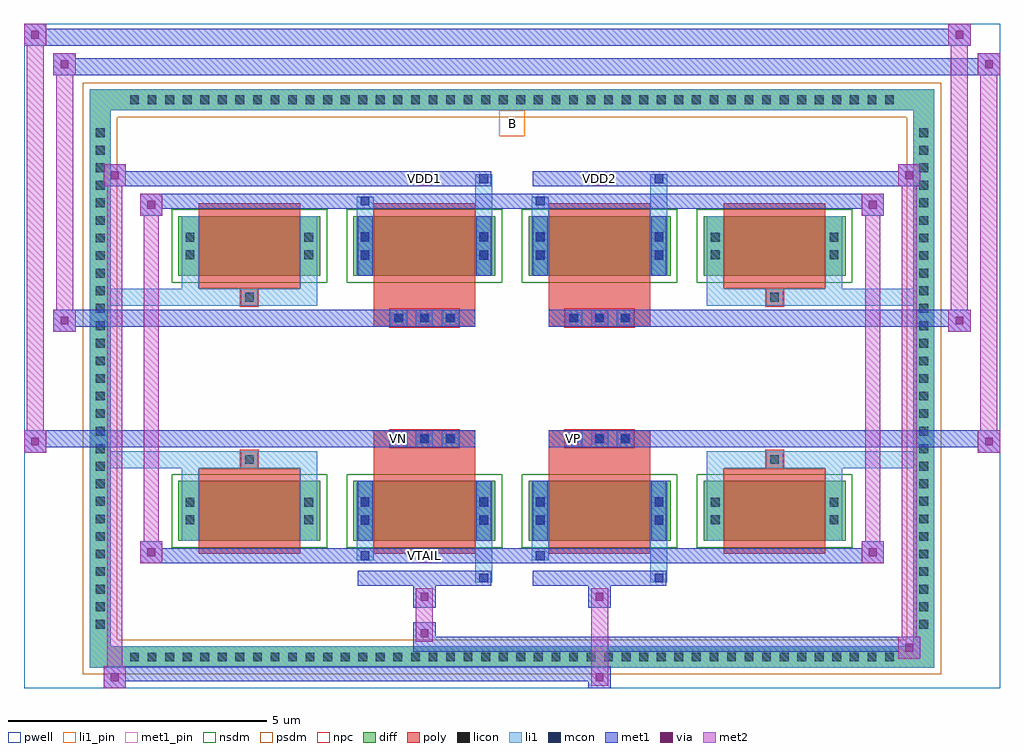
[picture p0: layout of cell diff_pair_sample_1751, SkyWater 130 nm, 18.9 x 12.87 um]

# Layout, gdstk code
import gdstk
lib = gdstk.Library(unit=1e-6, precision=5e-09)
def R(c, l, rs):  # rectangles x0, y0, x1, y1
    for r in rs: c.add(gdstk.rectangle(r[:2], r[2:], *l))
def A(c, l, x, y, w, h, nx, ny, dx, dy):  # array of equal rectangles
    R(c, l, [(x+i*dx, y+j*dy, x+i*dx+w, y+j*dy+h) for i in range(nx) for j in range(ny)])
def P(c, l, *ps):  # polygons
    for p in ps: c.add(gdstk.Polygon(p, *l))
pwell = (64, 44)
diff = (65, 20)
poly = (66, 20)
licon = (66, 44)
li1_pin = (67, 16)
li1 = (67, 20)
mcon = (67, 44)
met1_pin = (68, 16)
met1 = (68, 20)
via = (68, 44)
met2 = (69, 20)
nsdm = (93, 44)
psdm = (94, 20)
npc = (95, 20)

diff_pair_sample_1751 = lib.new_cell('diff_pair_sample_1751')
R(diff_pair_sample_1751, pwell, [(-9.45,-6,9.45,6.87), (-6.77,-4.19,-0.01,-0.805), (0.01,-4.19,6.77,-0.805), (-6.77,0.805,-0.01,4.19), (0.01,0.805,6.77,4.19)])
A(diff_pair_sample_1751, diff, -7.515, -5.6, 0.41, 0.41, 44, 2, 0.34, 10.79)
A(diff_pair_sample_1751, diff, -8.18, -4.965, 0.41, 0.41, 1, 29, 0, 0.34)
A(diff_pair_sample_1751, diff, 7.77, -4.965, 0.41, 0.41, 1, 29, 0, 0.34)
A(diff_pair_sample_1751, diff, -6.46, -3.145, 2.75, 1.16, 4, 2, 3.39, 5.13)
R(diff_pair_sample_1751, diff, [(-7.515,-5.6,7.515,-5.19), (-8.18,-4.965,-7.77,4.965), (7.77,-4.965,8.18,4.965), (-7.515,5.19,7.515,5.6)])
P(diff_pair_sample_1751, diff, [(8.18,5.6),(-8.18,5.6),(-8.18,-5.19),(-7.77,-5.19),(-7.77,5.19),(7.77,5.19),(7.77,-5.19),(-7.77,-5.19),(-8.18,-5.19),(-8.18,-5.6),(8.18,-5.6)])
A(diff_pair_sample_1751, poly, -6.07, -3.395, 1.97, 1.66, 4, 2, 3.39, 5.13)
A(diff_pair_sample_1751, poly, -2.36, -1.335, 0.33, 0.33, 3, 2, 0.5, 2.34)
A(diff_pair_sample_1751, poly, 1.03, -1.335, 0.33, 0.33, 3, 2, 0.5, 2.34)
R(diff_pair_sample_1751, poly, [(-5.25,-1.735,-4.92,-1.405), (-5.25,-1.735,-4.92,-1.405), (-2.68,-1.735,-0.71,-1.335), (0.71,-1.735,2.68,-1.335), (4.92,-1.735,5.25,-1.405), (4.92,-1.735,5.25,-1.405), (-2.68,-1.335,-0.71,-1.005), (0.71,-1.335,2.68,-1.005), (-2.68,1.005,-0.71,1.335), (0.71,1.005,2.68,1.335), (-2.68,1.335,-0.71,1.735), (0.71,1.335,2.68,1.735), (-5.25,1.405,-4.92,1.735), (-5.25,1.405,-4.92,1.735), (4.92,1.405,5.25,1.735), (4.92,1.405,5.25,1.735)])
A(diff_pair_sample_1751, licon, -7.395, -5.48, 0.17, 0.17, 44, 2, 0.34, 10.79)
A(diff_pair_sample_1751, licon, -8.06, -4.845, 0.17, 0.17, 1, 29, 0, 0.34)
A(diff_pair_sample_1751, licon, 7.89, -4.845, 0.17, 0.17, 1, 29, 0, 0.34)
A(diff_pair_sample_1751, licon, -2.28, -1.255, 0.17, 0.17, 3, 2, 0.5, 2.34)
A(diff_pair_sample_1751, licon, 1.11, -1.255, 0.17, 0.17, 3, 2, 0.5, 2.34)
R(diff_pair_sample_1751, licon, [(-6.32,-2.82,-6.15,-2.65), (-4.02,-2.82,-3.85,-2.65), (-2.93,-2.82,-2.76,-2.65), (-0.63,-2.82,-0.46,-2.65), (0.46,-2.82,0.63,-2.65), (2.76,-2.82,2.93,-2.65), (3.85,-2.82,4.02,-2.65), (6.15,-2.82,6.32,-2.65), (-6.32,-2.48,-6.15,-2.31), (-4.02,-2.48,-3.85,-2.31), (-2.93,-2.48,-2.76,-2.31), (-0.63,-2.48,-0.46,-2.31), (0.46,-2.48,0.63,-2.31), (2.76,-2.48,2.93,-2.31), (3.85,-2.48,4.02,-2.31), (6.15,-2.48,6.32,-2.31), (-5.17,-1.655,-5,-1.485), (5,-1.655,5.17,-1.485), (-5.17,1.485,-5,1.655), (5,1.485,5.17,1.655), (-6.32,2.31,-6.15,2.48), (-4.02,2.31,-3.85,2.48), (-2.93,2.31,-2.76,2.48), (-0.63,2.31,-0.46,2.48), (0.46,2.31,0.63,2.48), (2.76,2.31,2.93,2.48), (3.85,2.31,4.02,2.48), (6.15,2.31,6.32,2.48), (-6.32,2.65,-6.15,2.82), (-4.02,2.65,-3.85,2.82), (-2.93,2.65,-2.76,2.82), (-0.63,2.65,-0.46,2.82), (0.46,2.65,0.63,2.82), (2.76,2.65,2.93,2.82), (3.85,2.65,4.02,2.82), (6.15,2.65,6.32,2.82)])
R(diff_pair_sample_1751, li1_pin, [(-0.25,4.69,0.25,5.19)])
A(diff_pair_sample_1751, li1, -7.475, -5.56, 0.33, 0.33, 44, 2, 0.34, 10.79)
A(diff_pair_sample_1751, li1, -8.14, -4.925, 0.33, 0.33, 1, 29, 0, 0.34)
A(diff_pair_sample_1751, li1, 7.81, -4.925, 0.33, 0.33, 1, 29, 0, 0.34)
A(diff_pair_sample_1751, li1, -2.36, -1.335, 0.33, 0.33, 3, 2, 0.5, 2.34)
A(diff_pair_sample_1751, li1, 1.03, -1.335, 0.33, 0.33, 3, 2, 0.5, 2.34)
R(diff_pair_sample_1751, li1, [(-8.18,-5.6,-7.77,-5.19), (-8.18,-5.6,-7.77,-5.19), (-7.77,-5.6,7.77,-5.19), (7.77,-5.6,8.18,-5.19), (7.77,-5.6,8.18,-5.19), (-8.18,-5.19,-7.77,5.19), (7.77,-5.19,8.18,5.19), (-0.71,-3.95,-0.38,-3.145), (-0.63,-3.95,-0.46,-3.78), (2.68,-3.95,3.01,-3.145), (2.76,-3.95,2.93,-3.78), (-3.01,-3.52,-2.68,-3.145), (-2.93,-3.52,-2.76,-3.35), (0.38,-3.52,0.71,-3.145), (0.46,-3.52,0.63,-3.35), (-6.4,-3.145,-6.07,-1.985), (-4.1,-3.145,-3.77,-1.985), (-3.01,-3.145,-2.68,-1.985), (-0.71,-3.145,-0.38,-1.985), (0.38,-3.145,0.71,-1.985), (2.68,-3.145,3.01,-1.985), (3.77,-3.145,4.1,-1.985), (6.07,-3.145,6.4,-1.985), (-6.4,-2.9,-6.07,-2.57), (-4.1,-2.9,-3.77,-2.57), (-3.01,-2.9,-2.68,-2.57), (-0.71,-2.9,-0.38,-2.57), (0.38,-2.9,0.71,-2.57), (2.68,-2.9,3.01,-2.57), (3.77,-2.9,4.1,-2.57), (6.07,-2.9,6.4,-2.57), (-2.93,-2.83,-2.76,-2.66), (-2.93,-2.83,-2.76,-2.3), (-0.63,-2.83,-0.46,-2.66), (-0.63,-2.83,-0.46,-2.3), (0.46,-2.83,0.63,-2.66), (0.46,-2.83,0.63,-2.3), (2.76,-2.83,2.93,-2.66), (2.76,-2.83,2.93,-2.3), (-6.4,-2.56,-6.07,-2.23), (-4.1,-2.56,-3.77,-2.23), (-3.01,-2.56,-2.68,-2.23), (-0.71,-2.56,-0.38,-2.23), (0.38,-2.56,0.71,-2.23), (2.68,-2.56,3.01,-2.23), (3.77,-2.56,4.1,-2.23), (6.07,-2.56,6.4,-2.23), (-2.93,-2.47,-2.76,-2.3), (-0.63,-2.47,-0.46,-2.3), (0.46,-2.47,0.63,-2.3), (2.76,-2.47,2.93,-2.3), (-6.4,-1.985,-6.07,-1.405), (-4.1,-1.985,-3.77,-1.405), (3.77,-1.985,4.1,-1.405), (6.07,-1.985,6.4,-1.405), (-8.18,-1.735,-5.25,-1.405), (-6.4,-1.735,-5.25,-1.405), (-5.25,-1.735,-4.92,-1.405), (-4.92,-1.735,-3.77,-1.405), (3.77,-1.735,4.92,-1.405), (4.92,-1.735,5.25,-1.405), (4.92,-1.735,8.18,-1.405), (5.25,-1.735,6.4,-1.405), (-8.18,1.405,-5.25,1.735), (-6.4,1.405,-5.25,1.735), (-6.4,1.405,-6.07,1.985), (-5.25,1.405,-4.92,1.735), (-4.92,1.405,-3.77,1.735), (-4.1,1.405,-3.77,1.985), (3.77,1.405,4.92,1.735), (3.77,1.405,4.1,1.985), (4.92,1.405,5.25,1.735), (4.92,1.405,8.18,1.735), (5.25,1.405,6.4,1.735), (6.07,1.405,6.4,1.985), (-6.4,1.985,-6.07,3.145), (-4.1,1.985,-3.77,3.145), (-3.01,1.985,-2.68,3.145), (-0.71,1.985,-0.38,3.145), (0.38,1.985,0.71,3.145), (2.68,1.985,3.01,3.145), (3.77,1.985,4.1,3.145), (6.07,1.985,6.4,3.145), (-6.4,2.23,-6.07,2.56), (-4.1,2.23,-3.77,2.56), (-3.01,2.23,-2.68,2.56), (-0.71,2.23,-0.38,2.56), (0.38,2.23,0.71,2.56), (2.68,2.23,3.01,2.56), (3.77,2.23,4.1,2.56), (6.07,2.23,6.4,2.56), (-2.93,2.3,-2.76,2.47), (-2.93,2.3,-2.76,2.83), (-0.63,2.3,-0.46,2.47), (-0.63,2.3,-0.46,2.83), (0.46,2.3,0.63,2.47), (0.46,2.3,0.63,2.83), (2.76,2.3,2.93,2.47), (2.76,2.3,2.93,2.83), (-6.4,2.57,-6.07,2.9), (-4.1,2.57,-3.77,2.9), (-3.01,2.57,-2.68,2.9), (-0.71,2.57,-0.38,2.9), (0.38,2.57,0.71,2.9), (2.68,2.57,3.01,2.9), (3.77,2.57,4.1,2.9), (6.07,2.57,6.4,2.9), (-2.93,2.66,-2.76,2.83), (-0.63,2.66,-0.46,2.83), (0.46,2.66,0.63,2.83), (2.76,2.66,2.93,2.83), (-3.01,3.145,-2.68,3.52), (-0.71,3.145,-0.38,3.95), (0.38,3.145,0.71,3.52), (2.68,3.145,3.01,3.95), (-2.93,3.35,-2.76,3.52), (0.46,3.35,0.63,3.52), (-0.63,3.78,-0.46,3.95), (2.76,3.78,2.93,3.95), (-8.18,5.19,-7.77,5.6), (-8.18,5.19,-7.77,5.6), (-7.77,5.19,7.77,5.6), (7.77,5.19,8.18,5.6), (7.77,5.19,8.18,5.6)])
A(diff_pair_sample_1751, mcon, -2.28, -1.255, 0.17, 0.17, 3, 2, 0.5, 2.34)
A(diff_pair_sample_1751, mcon, 1.11, -1.255, 0.17, 0.17, 3, 2, 0.5, 2.34)
R(diff_pair_sample_1751, mcon, [(-0.63,-3.95,-0.46,-3.78), (2.76,-3.95,2.93,-3.78), (-2.93,-3.52,-2.76,-3.35), (0.46,-3.52,0.63,-3.35), (-2.93,-2.83,-2.76,-2.66), (-0.63,-2.83,-0.46,-2.66), (0.46,-2.83,0.63,-2.66), (2.76,-2.83,2.93,-2.66), (-2.93,-2.47,-2.76,-2.3), (-0.63,-2.47,-0.46,-2.3), (0.46,-2.47,0.63,-2.3), (2.76,-2.47,2.93,-2.3), (-2.93,2.3,-2.76,2.47), (-0.63,2.3,-0.46,2.47), (0.46,2.3,0.63,2.47), (2.76,2.3,2.93,2.47), (-2.93,2.66,-2.76,2.83), (-0.63,2.66,-0.46,2.83), (0.46,2.66,0.63,2.83), (2.76,2.66,2.93,2.83), (-2.93,3.35,-2.76,3.52), (0.46,3.35,0.63,3.52), (-0.63,3.78,-0.46,3.95), (2.76,3.78,2.93,3.95)])
R(diff_pair_sample_1751, met1_pin, [(-1.83,-3.56,-1.56,-3.29), (-2.33,-1.295,-2.06,-1.025), (1.06,-1.295,1.33,-1.025), (-1.83,3.74,-1.56,4.01), (1.56,3.74,1.83,4.01)])
A(diff_pair_sample_1751, met1, -2.34, -1.315, 0.29, 0.29, 3, 2, 0.5, 2.34)
A(diff_pair_sample_1751, met1, 1.05, -1.315, 0.29, 0.29, 3, 2, 0.5, 2.34)
R(diff_pair_sample_1751, met1, [(-7.91,-6,-7.48,-5.57), (1.48,-6,1.91,-5.57), (-7.91,-5.86,1.91,-5.57), (7.48,-5.43,7.91,-5), (-1.91,-5.29,7.91,-5), (-1.91,-5.15,-1.48,-4.72), (-1.91,-4.44,-1.48,-4.01), (1.48,-4.44,1.91,-4.01), (-2.99,-4.01,-0.4,-3.72), (-0.69,-4.01,-0.4,-3.72), (0.4,-4.01,2.99,-3.72), (2.7,-4.01,2.99,-3.72), (-7.2,-3.58,-6.77,-3.15), (-7.2,-3.58,-2.99,-3.29), (-2.99,-3.58,-2.7,-3.29), (-2.99,-3.58,-0.4,-3.29), (-0.4,-3.58,0.4,-3.29), (0.4,-3.58,0.69,-3.29), (0.4,-3.58,2.99,-3.29), (2.99,-3.58,7.2,-3.29), (6.77,-3.58,7.2,-3.15), (-2.99,-3.145,-2.7,-1.985), (-0.69,-3.145,-0.4,-1.985), (0.4,-3.145,0.69,-1.985), (2.7,-3.145,2.99,-1.985), (-2.99,-2.89,-2.7,-2.6), (-0.69,-2.89,-0.4,-2.6), (0.4,-2.89,0.69,-2.6), (2.7,-2.89,2.99,-2.6), (-2.99,-2.53,-2.7,-2.24), (-0.69,-2.53,-0.4,-2.24), (0.4,-2.53,0.69,-2.24), (2.7,-2.53,2.99,-2.24), (-9.45,-1.435,-9.02,-1.005), (9.02,-1.435,9.45,-1.005), (-9.45,-1.335,-0.71,-1.005), (-2.68,-1.335,-0.71,-1.005), (0.71,-1.335,2.68,-1.005), (0.71,-1.335,9.45,-1.005), (-8.88,0.905,-8.45,1.335), (8.45,0.905,8.88,1.335), (-8.88,1.005,-2.68,1.335), (-2.68,1.005,-0.71,1.335), (0.71,1.005,2.68,1.335), (2.68,1.005,8.88,1.335), (-2.99,1.985,-2.7,3.145), (-0.69,1.985,-0.4,3.145), (0.4,1.985,0.69,3.145), (2.7,1.985,2.99,3.145), (-2.99,2.24,-2.7,2.53), (-0.69,2.24,-0.4,2.53), (0.4,2.24,0.69,2.53), (2.7,2.24,2.99,2.53), (-2.99,2.6,-2.7,2.89), (-0.69,2.6,-0.4,2.89), (0.4,2.6,0.69,2.89), (2.7,2.6,2.99,2.89), (-7.2,3.15,-6.77,3.58), (6.77,3.15,7.2,3.58), (-7.2,3.29,-2.99,3.58), (-2.99,3.29,-2.7,3.58), (-2.99,3.29,-0.4,3.58), (-0.4,3.29,0.4,3.58), (0.4,3.29,0.69,3.58), (0.4,3.29,2.99,3.58), (2.99,3.29,7.2,3.58), (-7.91,3.72,-7.48,4.15), (-7.91,3.72,-2.99,4.01), (-2.99,3.72,-0.4,4.01), (-0.69,3.72,-0.4,4.01), (0.4,3.72,2.99,4.01), (2.7,3.72,2.99,4.01), (2.99,3.72,7.91,4.01), (7.48,3.72,7.91,4.15), (-8.88,5.87,-8.45,6.3), (-8.88,5.87,-6.77,6.2), (-6.77,5.87,6.77,6.2), (6.77,5.87,9.45,6.2), (9.02,5.87,9.45,6.3), (-9.45,6.44,-9.02,6.87), (-9.45,6.44,-6.77,6.77), (-6.77,6.44,6.77,6.77), (6.77,6.44,8.88,6.77), (8.45,6.44,8.88,6.87)])
R(diff_pair_sample_1751, via, [(-7.77,-5.86,-7.62,-5.71), (1.62,-5.86,1.77,-5.71), (7.62,-5.29,7.77,-5.14), (-1.77,-5.01,-1.62,-4.86), (-1.77,-4.3,-1.62,-4.15), (1.62,-4.3,1.77,-4.15), (-7.06,-3.44,-6.91,-3.29), (6.91,-3.44,7.06,-3.29), (-9.31,-1.295,-9.16,-1.145), (9.16,-1.295,9.31,-1.145), (-8.74,1.045,-8.59,1.195), (8.59,1.045,8.74,1.195), (-7.06,3.29,-6.91,3.44), (6.91,3.29,7.06,3.44), (-7.77,3.86,-7.62,4.01), (7.62,3.86,7.77,4.01), (-8.74,6.01,-8.59,6.16), (9.16,6.01,9.31,6.16), (-9.31,6.58,-9.16,6.73), (8.59,6.58,8.74,6.73)])
R(diff_pair_sample_1751, met2, [(-7.91,-6,-7.48,-5.57), (-7.84,-6,-7.55,4.15), (-7.55,-6,-7.48,-5.57), (-7.86,-5.95,-7.53,-5.62), (1.53,-5.95,1.86,-5.62), (1.53,-5.62,1.86,-4.39), (7.48,-5.43,7.91,-5), (7.55,-5.43,7.84,4.15), (7.84,-5.43,7.91,-5), (7.53,-5.38,7.86,-5.05), (-1.86,-5.1,-1.53,-4.77), (-1.86,-4.77,-1.53,-4.39), (-1.86,-4.39,-1.53,-4.06), (1.53,-4.39,1.86,-4.06), (-7.2,-3.58,-6.77,-3.15), (-7.13,-3.58,-6.84,3.58), (-6.84,-3.58,-6.77,-3.15), (6.77,-3.58,7.2,-3.15), (6.84,-3.58,7.13,3.58), (7.13,-3.58,7.2,-3.15), (-7.15,-3.53,-6.82,-3.2), (6.82,-3.53,7.15,-3.2), (-9.45,-1.435,-9.02,-1.005), (-9.4,-1.435,-9.07,6.87), (-9.07,-1.435,-9.02,-1.005), (9.02,-1.435,9.45,-1.005), (9.07,-1.435,9.4,6.3), (9.4,-1.435,9.45,-1.005), (-9.4,-1.385,-9.07,-1.055), (9.07,-1.385,9.4,-1.055), (-8.88,0.905,-8.45,1.335), (-8.83,0.905,-8.5,6.3), (-8.5,0.905,-8.45,1.335), (8.45,0.905,8.88,1.335), (8.5,0.905,8.83,6.87), (8.83,0.905,8.88,1.335), (-8.83,0.955,-8.5,1.285), (8.5,0.955,8.83,1.285), (-7.2,3.15,-6.77,3.58), (-6.84,3.15,-6.77,3.58), (6.77,3.15,7.2,3.58), (7.13,3.15,7.2,3.58), (-7.15,3.2,-6.82,3.53), (6.82,3.2,7.15,3.53), (-7.91,3.72,-7.48,4.15), (-7.55,3.72,-7.48,4.15), (7.48,3.72,7.91,4.15), (7.84,3.72,7.91,4.15), (-7.86,3.77,-7.53,4.1), (7.53,3.77,7.86,4.1), (-8.88,5.87,-8.45,6.3), (-8.5,5.87,-8.45,6.3), (9.02,5.87,9.45,6.3), (9.4,5.87,9.45,6.3), (-8.83,5.92,-8.5,6.25), (9.07,5.92,9.4,6.25), (-9.45,6.44,-9.02,6.87), (-9.07,6.44,-9.02,6.87), (8.45,6.44,8.88,6.87), (8.83,6.44,8.88,6.87), (-9.4,6.49,-9.07,6.82), (8.5,6.49,8.83,6.82)])
A(diff_pair_sample_1751, nsdm, -6.59, -3.275, 3.01, 1.42, 4, 2, 3.39, 5.13)
P(diff_pair_sample_1751, psdm, [(8.31,5.73),(-8.31,5.73),(-8.31,-5.06),(-7.64,-5.06),(-7.64,5.06),(7.64,5.06),(7.64,-5.06),(-7.64,-5.06),(-8.31,-5.06),(-8.31,-5.73),(8.31,-5.73)])
A(diff_pair_sample_1751, npc, -2.38, -1.355, 0.37, 0.37, 3, 2, 0.5, 2.34)
A(diff_pair_sample_1751, npc, 1.01, -1.355, 0.37, 0.37, 3, 2, 0.5, 2.34)
R(diff_pair_sample_1751, npc, [(-5.27,-1.755,-4.9,-1.385), (4.9,-1.755,5.27,-1.385), (-2.38,-1.355,-1.51,-0.985), (-2.38,-1.355,-1.51,-0.985), (-1.88,-1.355,-1.01,-0.985), (-1.88,-1.355,-1.01,-0.985), (1.01,-1.355,1.88,-0.985), (1.01,-1.355,1.88,-0.985), (1.51,-1.355,2.38,-0.985), (1.51,-1.355,2.38,-0.985), (-2.38,0.985,-1.51,1.355), (-2.38,0.985,-1.51,1.355), (-1.88,0.985,-1.01,1.355), (-1.88,0.985,-1.01,1.355), (1.01,0.985,1.88,1.355), (1.01,0.985,1.88,1.355), (1.51,0.985,2.38,1.355), (1.51,0.985,2.38,1.355), (-5.27,1.385,-4.9,1.755), (4.9,1.385,5.27,1.755)])
diff_pair_sample_1751.add(gdstk.Label('VTAIL', (-1.695,-3.425), layer=68, texttype=5))
diff_pair_sample_1751.add(gdstk.Label('VN', (-2.195,-1.16), layer=68, texttype=5))
diff_pair_sample_1751.add(gdstk.Label('VP', (1.195,-1.16), layer=68, texttype=5))
diff_pair_sample_1751.add(gdstk.Label('B', (0,4.94), layer=67, texttype=5))
diff_pair_sample_1751.add(gdstk.Label('VDD2', (1.695,3.875), layer=68, texttype=5))
diff_pair_sample_1751.add(gdstk.Label('VDD1', (-1.695,3.875), layer=68, texttype=5))

lib.write_gds('diff_pair_sample_1751.gds')
